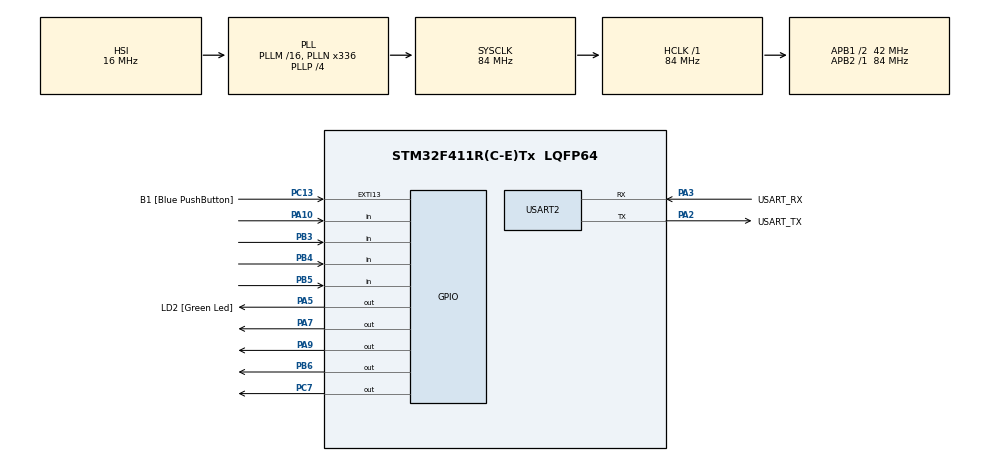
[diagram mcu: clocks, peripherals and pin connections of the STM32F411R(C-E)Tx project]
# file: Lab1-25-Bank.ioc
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Mcu.Family=STM32F4
Mcu.Name=STM32F411R(C-E)Tx
Mcu.Package=LQFP64
NVIC.PriorityGroup=NVIC_PRIORITYGROUP_0
PA10.Signal=GPIO_Input
PA13.GPIO_Label=TMS
PA13.Mode=Serial_Wire
PA13.Signal=SYS_JTMS-SWDIO
PA14.GPIO_Label=TCK
PA14.Mode=Serial_Wire
PA14.Signal=SYS_JTCK-SWCLK
PA2.GPIO_Label=USART_TX
PA2.Mode=Asynchronous
PA2.Signal=USART2_TX
PA3.GPIO_Label=USART_RX
PA3.Mode=Asynchronous
PA3.Signal=USART2_RX
PA5.GPIO_Label=LD2 [Green Led]
PA5.Signal=GPIO_Output
PA7.Signal=GPIO_Output
PA9.Signal=GPIO_Output
PB3.Signal=GPIO_Input
PB4.Signal=GPIO_Input
PB5.Signal=GPIO_Input
PB6.Signal=GPIO_Output
PC13-ANTI_TAMP.GPIO_Label=B1 [Blue PushButton]
PC13-ANTI_TAMP.GPIO_ModeDefaultEXTI=GPIO_MODE_IT_FALLING
PC13-ANTI_TAMP.Signal=GPXTI13
PC14-OSC32_IN.Mode=LSE-External-Oscillator
PC14-OSC32_IN.Signal=RCC_OSC32_IN
PC15-OSC32_OUT.Mode=LSE-External-Oscillator
PC15-OSC32_OUT.Signal=RCC_OSC32_OUT
PC7.Signal=GPIO_Output
PH0\ -\ OSC_IN.Mode=HSE-External-Clock-Source
PH0\ -\ OSC_IN.Signal=RCC_OSC_IN
PH1\ -\ OSC_OUT.Mode=HSE-External-Clock-Source
PH1\ -\ OSC_OUT.Signal=RCC_OSC_OUT
ProjectManager.HeapSize=0x200
ProjectManager.StackSize=0x400
ProjectManager.TargetToolchain=STM32CubeIDE
RCC.48MHZClocksFreq_Value=84000000
RCC.AHBFreq_Value=84000000
RCC.APB1CLKDivider=RCC_HCLK_DIV2
RCC.APB1Freq_Value=42000000
RCC.APB1TimFreq_Value=84000000
RCC.APB2Freq_Value=84000000
RCC.APB2TimFreq_Value=84000000
RCC.CortexFreq_Value=84000000
RCC.FLatency-AdvancedSettings=FLASH_LATENCY_2
RCC.HCLKFreq_Value=84000000
RCC.HSE_VALUE=8000000
RCC.HSI_VALUE=16000000
RCC.PLLN=336
RCC.PLLP=RCC_PLLP_DIV4
RCC.SYSCLKFreq_VALUE=84000000
RCC.SYSCLKSource=RCC_SYSCLKSOURCE_PLLCLK
RCC.VCOOutputFreq_Value=336000000
USART2.VirtualMode=VM_ASYNC
board=NUCLEO-F411RE

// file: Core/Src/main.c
/* USER CODE BEGIN Header */
/**
  ******************************************************************************
  * @file           : main.c
  * @brief          : Main program body
  ******************************************************************************
  * @attention
  *
  * <h2><center>&copy; Copyright (c) 2021 STMicroelectronics.
  * All rights reserved.</center></h2>
  *
  * This software component is licensed by ST under BSD 3-Clause license,
  * the "License"; You may not use this file except in compliance with the
  * License. You may obtain a copy of the License at:
  *                        opensource.org/licenses/BSD-3-Clause
  *
  ******************************************************************************
  */
/* USER CODE END Header */
#include "main.h"

UART_HandleTypeDef huart2;

void SystemClock_Config(void);
static void MX_GPIO_Init(void);
static void MX_USART2_UART_Init(void);

int main(void)
{

  /* MCU Configuration--------------------------------------------------------*/

  /* Reset of all peripherals, Initializes the Flash interface and the Systick. */
  HAL_Init();

  /* Configure the system clock */
  SystemClock_Config();

  /* Initialize all configured peripherals */
  MX_GPIO_Init();
  MX_USART2_UART_Init();
  /* USER CODE BEGIN 2 */

  GPIO_PinState SwitchState[2]; //Now,Last
  GPIO_PinState SwitchState1[2]; //Now,Last
  GPIO_PinState SwitchState2[2]; //Now,Last
  uint16_t LED1_HalfPeriod = 1000; //hz
  uint32_t TimeStamp = 0;
  uint32_t ButtonTimeStamp = 0;
  uint32_t mode = 0;
  uint32_t TimeStamp1 = 0;
  uint16_t Timercurcuit1 = 500;
  uint32_t count = 0;
  uint32_t TimeStamp2 = 0;
  uint16_t Timercurcuit2 = 1500;
  uint32_t count2 = 0;

  /* USER CODE END 2 */

  /* Infinite loop */
  while (1)
  {

    /* USER CODE BEGIN 3 */
	  if(HAL_GetTick() - ButtonTimeStamp >= 100)
	  {
		  ButtonTimeStamp = HAL_GetTick();
		  SwitchState[0] = HAL_GPIO_ReadPin(GPIOA, GPIO_PIN_10);
		  SwitchState1[0] = HAL_GPIO_ReadPin(GPIOB, GPIO_PIN_3);
		  //HAL_GPIO_WritePin(GPIOA, GPIO_PIN_7, GPIO_PIN_SET);
		  SwitchState2[0] = HAL_GPIO_ReadPin(GPIOB, GPIO_PIN_5);
		  //HAL_GPIO_WritePin(GPIOB, GPIO_PIN_6, GPIO_PIN_RESET); D5เสีย
		  if(SwitchState[1] == GPIO_PIN_SET && SwitchState[0] == GPIO_PIN_RESET) //�?ดสวิสต์เเล้วความเร็วไฟ�?ระพริบจะเปลี่ยน�?ดครั้งนึง�?็เปลี่ยน�?ดครั้งนึง�?็เปลี่ยน
		  {
	  		  if(LED1_HalfPeriod == 1000)                       //ตัวเเปรที่เ�?็บค่า เวลา ไว้เฉยๆเพื่อให้เวลาไปที่อยู่ในตัวเเปรนั้นไปใช้ใน if ข้างล่าง
	  		  {
	  			  LED1_HalfPeriod = 500;
	  		  }
	  		  else if(LED1_HalfPeriod == 500)
	  		  {
	  			  LED1_HalfPeriod = 250;
	  		  }
	  		  else if(LED1_HalfPeriod == 250)
	  		  {
	  			  LED1_HalfPeriod = 500/3;
	  		  }
	  		  else
	  		  {
	  			  LED1_HalfPeriod = 1000;
	  		  }

		  }
		  SwitchState[1] = SwitchState[0];

		  if(SwitchState1[1] == GPIO_PIN_SET && SwitchState1[0] == GPIO_PIN_RESET)
		  {
			  if(HAL_GPIO_ReadPin(GPIOC, GPIO_PIN_7) == GPIO_PIN_SET)
			  {
				  HAL_GPIO_WritePin(GPIOC, GPIO_PIN_7, GPIO_PIN_RESET);   //ปิดไฟ
			  }
			  else
			  {
			  	  HAL_GPIO_WritePin(GPIOC, GPIO_PIN_7, GPIO_PIN_SET);   //เปิดไฟ
			  }
		  }
		  SwitchState1[1] = SwitchState1[0];

		  if(SwitchState2[1] == GPIO_PIN_SET && SwitchState2[0] == GPIO_PIN_RESET)
		  {
			  if(mode == 0)
			  {
				  mode = 1;
			  }
			  else
			  {
				  mode = 0;
			  }
		  }
		  SwitchState2[1] = SwitchState2[0];
	  }
	  if(HAL_GetTick() - TimeStamp >= LED1_HalfPeriod) //บรรทัดเอ้าพุตหรือเขียน.write LED
		                                                                                  //ปรับให้�?ารเเสดง output มันเปลี่ยน เช่น เปลี่ยน output เร็วขึ้น หรือ เปลี่ยน output ช้าลงตามคำสั่งด่้านบน
		                                                                                  //สั่งเปิดปิด switch
	  {
		  TimeStamp = HAL_GetTick();
		  if(HAL_GPIO_ReadPin(GPIOA, GPIO_PIN_9)==GPIO_PIN_SET)
		  {
			  HAL_GPIO_WritePin(GPIOA, GPIO_PIN_9, GPIO_PIN_RESET);   //ปิดไฟ
		  }
		  else
		  {
		  	  HAL_GPIO_WritePin(GPIOA, GPIO_PIN_9, GPIO_PIN_SET);   //เปิดไฟ
		  }
	  }
	  HAL_GetTick(); //mS

	  if(mode == 0)
	  {
		  if(count == 0)
		  {
			  HAL_GPIO_WritePin(GPIOA, GPIO_PIN_7, GPIO_PIN_RESET);
			  count = 1;
		  }
		  if(HAL_GetTick() - TimeStamp1 >= Timercurcuit1)
		  {
			  TimeStamp1 = HAL_GetTick();
			  if(HAL_GPIO_ReadPin(GPIOA, GPIO_PIN_7) == GPIO_PIN_RESET)
			  {
				  HAL_GPIO_WritePin(GPIOA, GPIO_PIN_7, GPIO_PIN_SET);
				  Timercurcuit1 = 1500;
			  }
			  else
			  {
				  HAL_GPIO_WritePin(GPIOA, GPIO_PIN_7, GPIO_PIN_RESET);
				  Timercurcuit1 = 500;
			  }
		  }
	  }

	  if(mode == 1)
	  {
		  if(count2 == 0)
	  	  {
			  HAL_GPIO_WritePin(GPIOA, GPIO_PIN_7, GPIO_PIN_RESET);
	  		  count2 = 1;
	  	  }
	  	  if(HAL_GetTick() - TimeStamp2 >= Timercurcuit2)
	  	  {
	  		  TimeStamp2 = HAL_GetTick();
	  		  if(HAL_GPIO_ReadPin(GPIOA, GPIO_PIN_7) == GPIO_PIN_RESET)
	  		  {
	  			  HAL_GPIO_WritePin(GPIOA, GPIO_PIN_7, GPIO_PIN_SET);
	  			  Timercurcuit2 = 500;
	  		  }
	  		  else
	  		  {
	  			  HAL_GPIO_WritePin(GPIOA, GPIO_PIN_7, GPIO_PIN_RESET);
	  			  Timercurcuit2 = 1500;
	  		  }
	  	  }
	   }

  }
  /* USER CODE END 3 */
}

void SystemClock_Config(void)
{
  RCC_OscInitTypeDef RCC_OscInitStruct = {0};
  RCC_ClkInitTypeDef RCC_ClkInitStruct = {0};

  /** Configure the main internal regulator output voltage
  */
  __HAL_RCC_PWR_CLK_ENABLE();
  __HAL_PWR_VOLTAGESCALING_CONFIG(PWR_REGULATOR_VOLTAGE_SCALE1);
  /** Initializes the RCC Oscillators according to the specified parameters
  * in the RCC_OscInitTypeDef structure.
  */
  RCC_OscInitStruct.OscillatorType = RCC_OSCILLATORTYPE_HSI;
  RCC_OscInitStruct.HSIState = RCC_HSI_ON;
  RCC_OscInitStruct.HSICalibrationValue = RCC_HSICALIBRATION_DEFAULT;
  RCC_OscInitStruct.PLL.PLLState = RCC_PLL_ON;
  RCC_OscInitStruct.PLL.PLLSource = RCC_PLLSOURCE_HSI;
  RCC_OscInitStruct.PLL.PLLM = 16;
  RCC_OscInitStruct.PLL.PLLN = 336;
  RCC_OscInitStruct.PLL.PLLP = RCC_PLLP_DIV4;
  RCC_OscInitStruct.PLL.PLLQ = 4;
  if (HAL_RCC_OscConfig(&RCC_OscInitStruct) != HAL_OK)
  {
    Error_Handler();
  }
  /** Initializes the CPU, AHB and APB buses clocks
  */
  RCC_ClkInitStruct.ClockType = RCC_CLOCKTYPE_HCLK|RCC_CLOCKTYPE_SYSCLK
                              |RCC_CLOCKTYPE_PCLK1|RCC_CLOCKTYPE_PCLK2;
  RCC_ClkInitStruct.SYSCLKSource = RCC_SYSCLKSOURCE_PLLCLK;
  RCC_ClkInitStruct.AHBCLKDivider = RCC_SYSCLK_DIV1;
  RCC_ClkInitStruct.APB1CLKDivider = RCC_HCLK_DIV2;
  RCC_ClkInitStruct.APB2CLKDivider = RCC_HCLK_DIV1;

  if (HAL_RCC_ClockConfig(&RCC_ClkInitStruct, FLASH_LATENCY_2) != HAL_OK)
  {
    Error_Handler();
  }
}

static void MX_USART2_UART_Init(void)
{

  huart2.Instance = USART2;
  huart2.Init.BaudRate = 115200;
  huart2.Init.WordLength = UART_WORDLENGTH_8B;
  huart2.Init.StopBits = UART_STOPBITS_1;
  huart2.Init.Parity = UART_PARITY_NONE;
  huart2.Init.Mode = UART_MODE_TX_RX;
  huart2.Init.HwFlowCtl = UART_HWCONTROL_NONE;
  huart2.Init.OverSampling = UART_OVERSAMPLING_16;
  if (HAL_UART_Init(&huart2) != HAL_OK)
  {
    Error_Handler();
  }

}

static void MX_GPIO_Init(void)
{
  GPIO_InitTypeDef GPIO_InitStruct = {0};

  /* GPIO Ports Clock Enable */
  __HAL_RCC_GPIOC_CLK_ENABLE();
  __HAL_RCC_GPIOH_CLK_ENABLE();
  __HAL_RCC_GPIOA_CLK_ENABLE();
  __HAL_RCC_GPIOB_CLK_ENABLE();

  /*Configure GPIO pin Output Level */
  HAL_GPIO_WritePin(GPIOA, LD2_Pin|GPIO_PIN_7|GPIO_PIN_9, GPIO_PIN_RESET);

  /*Configure GPIO pin Output Level */
  HAL_GPIO_WritePin(GPIOC, GPIO_PIN_7, GPIO_PIN_RESET);

  /*Configure GPIO pin Output Level */
  HAL_GPIO_WritePin(GPIOB, GPIO_PIN_6, GPIO_PIN_RESET);

  /*Configure GPIO pin : B1_Pin */
  GPIO_InitStruct.Pin = B1_Pin;
  GPIO_InitStruct.Mode = GPIO_MODE_IT_FALLING;
  GPIO_InitStruct.Pull = GPIO_NOPULL;
  HAL_GPIO_Init(B1_GPIO_Port, &GPIO_InitStruct);

  /*Configure GPIO pins : LD2_Pin PA7 PA9 */
  GPIO_InitStruct.Pin = LD2_Pin|GPIO_PIN_7|GPIO_PIN_9;
  GPIO_InitStruct.Mode = GPIO_MODE_OUTPUT_PP;
  GPIO_InitStruct.Pull = GPIO_NOPULL;
  GPIO_InitStruct.Speed = GPIO_SPEED_FREQ_LOW;
  HAL_GPIO_Init(GPIOA, &GPIO_InitStruct);

  /*Configure GPIO pin : PC7 */
  GPIO_InitStruct.Pin = GPIO_PIN_7;
  GPIO_InitStruct.Mode = GPIO_MODE_OUTPUT_PP;
  GPIO_InitStruct.Pull = GPIO_NOPULL;
  GPIO_InitStruct.Speed = GPIO_SPEED_FREQ_LOW;
  HAL_GPIO_Init(GPIOC, &GPIO_InitStruct);

  /*Configure GPIO pin : PA10 */
  GPIO_InitStruct.Pin = GPIO_PIN_10;
  GPIO_InitStruct.Mode = GPIO_MODE_INPUT;
  GPIO_InitStruct.Pull = GPIO_NOPULL;
  HAL_GPIO_Init(GPIOA, &GPIO_InitStruct);

  /*Configure GPIO pins : PB3 PB4 PB5 */
  GPIO_InitStruct.Pin = GPIO_PIN_3|GPIO_PIN_4|GPIO_PIN_5;
  GPIO_InitStruct.Mode = GPIO_MODE_INPUT;
  GPIO_InitStruct.Pull = GPIO_NOPULL;
  HAL_GPIO_Init(GPIOB, &GPIO_InitStruct);

  /*Configure GPIO pin : PB6 */
  GPIO_InitStruct.Pin = GPIO_PIN_6;
  GPIO_InitStruct.Mode = GPIO_MODE_OUTPUT_PP;
  GPIO_InitStruct.Pull = GPIO_NOPULL;
  GPIO_InitStruct.Speed = GPIO_SPEED_FREQ_LOW;
  HAL_GPIO_Init(GPIOB, &GPIO_InitStruct);

}

void Error_Handler(void)
{
  __disable_irq();
  while (1)
  {
  }
}

/************************ (C) COPYRIGHT STMicroelectronics *****END OF FILE****/
